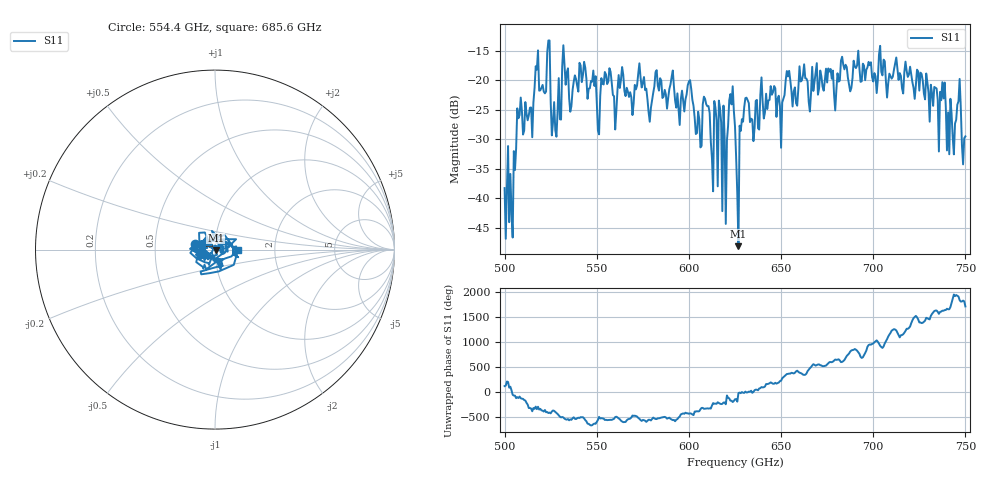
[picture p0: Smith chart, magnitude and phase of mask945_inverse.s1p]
!Created with skrf (http://scikit-rf.org).
# GHz S MA R 50.0
!freq magS11 angS11
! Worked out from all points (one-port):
!   401 points, 500 GHz to 750 GHz, reference 50 ohm
!   lowest |S11| = -48.1 dB at 626.9 GHz (marker M1), VSWR 1.01, Z = 50.4 - j0.132 ohm
!   |S11| at or under -10 dB: start of sweep to end of sweep
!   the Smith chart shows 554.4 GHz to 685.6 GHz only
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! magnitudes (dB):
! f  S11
! 500 GHz  -38.3
! 503.8 GHz  -42.4
! 508.1 GHz  -25.9
! 513.8 GHz  -24.7
! 517.5 GHz  -18.2
! 523.8 GHz  -13.3
! 526.9 GHz  -23.7
! 531.2 GHz  -17.7
! 541.9 GHz  -20.3
! 551.2 GHz  -29.2
! 562.5 GHz  -21.3
! 593.8 GHz  -22.3
! 600.6 GHz  -20.0
! 605.6 GHz  -26.6
! 609.4 GHz  -24.1
! 619.4 GHz  -29.7
! 623.1 GHz  -24.1
! 625 GHz  -27.9
! 626.9 GHz  -48.1
! 631.2 GHz  -23.0
! 634.4 GHz  -26.7
! 656.2 GHz  -24.5
! 687.5 GHz  -21.9
! 718.8 GHz  -19.5
! 737.5 GHz  -20.4
! 742.5 GHz  -25.7
! 746.2 GHz  -23.6
! 750 GHz  -29.5
